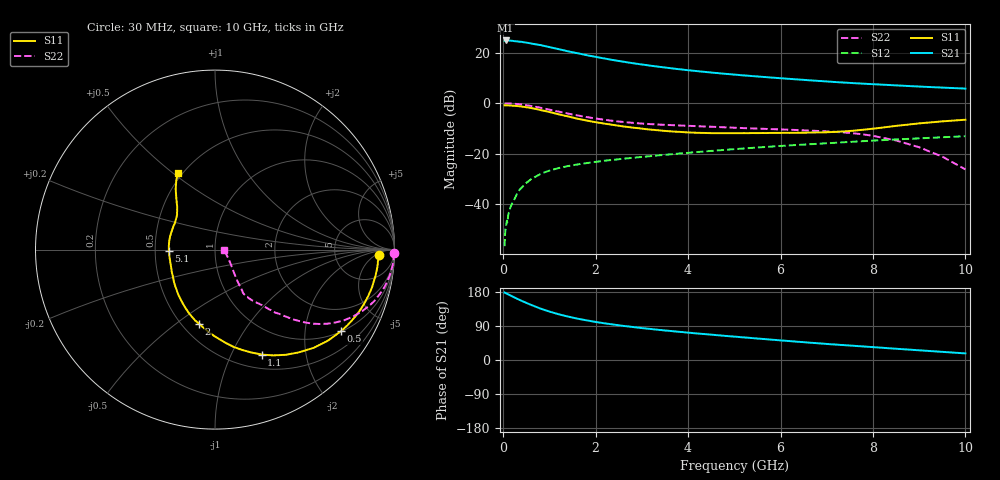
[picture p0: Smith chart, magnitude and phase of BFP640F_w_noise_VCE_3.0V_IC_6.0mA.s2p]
! Infineon Technologies  Discrete & RF Semiconductors
! BFP640F
! VCE =  3.0 V,  IC =  6.0 mA
! Common Emitter S-Parameters:  Apr 2013
# GHz  S  MA  R  50
!  f  S11  S21  S12  S22
! GHz  MAG  ANG  MAG  ANG  MAG  ANG  MAG  ANG
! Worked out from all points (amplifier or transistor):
!   99 points, 30 MHz to 10 GHz, reference 50 ohm
!   highest |S21| = 24.9 dB at 50 MHz (marker M1)
!   |S21| within 3 dB of that: start of sweep to 1.091 GHz
!   unconditionally stable (mu >= 1): 3.904 GHz to end of sweep
!   at 350 MHz: K = 0.11, MSG = 29.3 dB, |S12| = -34.3 dB
!   at 3.5 GHz: K = 0.97, MSG = 17.3 dB, |S12| = -20.4 dB
!   at 10 GHz: K = 1.10, MAG = 7.5 dB, |S12| = -13.0 dB
!   lowest NFmin = 0.54 dB at 450 MHz
!   S11 on the Smith chart (normalised r, x): 30 MHz: 19, -7; 500 MHz: 1.02, -3.08; 1.1 GHz: 0.66, -1.32; 2 GHz: 0.61, -0.61; 5.1 GHz: 0.59, -0.01; 10 GHz: 0.47, +0.52
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0.03  0.9127 -2.0  17.31 177.9  0.0015 108.3  0.997 -1.1
0.04  0.9135 -2.7  17.26 177.4  0.0026 82.7  0.9969 -1.5
0.05  0.9131 -3.4  17.49 176.9  0.0033 71.2  0.998 -2.0
0.15  0.9043 -10.2  17.32 170.6  0.0086 85.6  0.9901 -6.1
0.3  0.8838 -20.1  16.76 161.7  0.0164 79.9  0.9687 -12.1
0.4  0.8615 -26.7  16.4 156.0  0.0215 77.3  0.9455 -15.9
0.5  0.8365 -32.9  15.86 150.7  0.0267 74.9  0.9191 -19.5
0.6  0.8081 -38.9  15.26 145.6  0.0315 72.0  0.8873 -22.9
0.8  0.7383 -50.9  14.22 135.9  0.0397 66.9  0.8201 -28.7
1  0.6727 -61.2  12.94 127.9  0.0467 62.4  0.7499 -33.4
1.1  0.64 -66.0  12.33 124.2  0.0496 60.5  0.7153 -35.4
1.4  0.5518 -79.2  10.68 114.7  0.0575 56.5  0.6278 -39.8
1.7  0.4772 -91.3  9.38 106.9  0.0637 53.7  0.5568 -42.8
2  0.4224 -102.0  8.292 100.5  0.0697 52.2  0.5026 -45.2
2.2  0.3957 -108.9  7.675 96.6  0.0735 51.0  0.4724 -46.8
2.6  0.3488 -121.0  6.65 90.0  0.0804 49.6  0.4285 -48.7
3.4  0.2905 -142.0  5.232 79.2  0.0943 48.0  0.3786 -51.7
4.2  0.2612 -160.4  4.324 70.0  0.109 46.2  0.3535 -53.6
5.1  0.2564 -178.7  3.634 60.7  0.1261 43.7  0.3272 -55.4
6.7  0.2643 152.3  2.823 45.1  0.1565 38.2  0.2871 -57.0
8.5  0.358 127.0  2.263 29.7  0.1932 31.0  0.1843 -52.4
10  0.4741 115.9  1.957 17.4  0.2239 24.0  0.0494 -0.5
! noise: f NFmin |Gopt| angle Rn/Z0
0.45  0.54  0.33  8  0.09
0.9  0.55  0.33  19  0.1
1.5  0.59  0.31  27  0.1
1.9  0.61  0.29  43  0.11
2.4  0.65  0.27  56  0.11
3.5  0.75  0.23  79  0.13
5.5  0.97  0.18  155  0.16
10  1.63  0.43  -103  0.34
